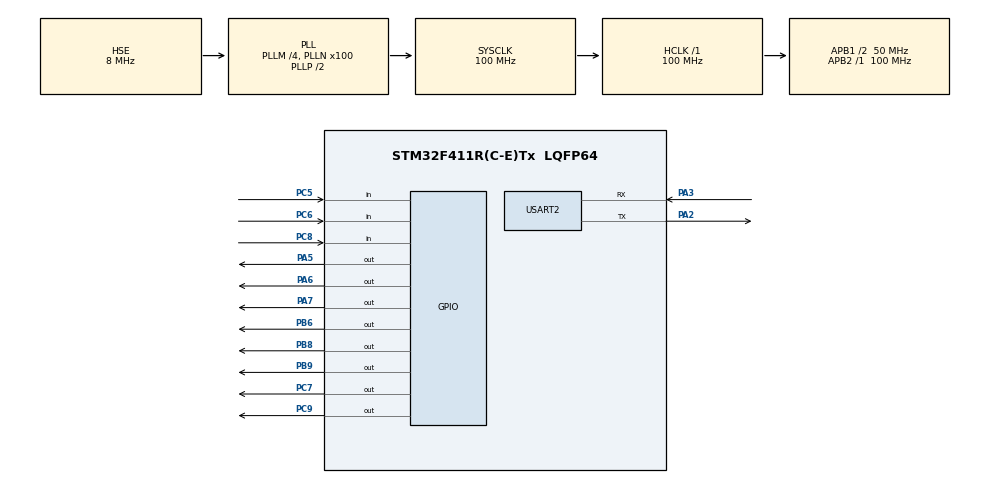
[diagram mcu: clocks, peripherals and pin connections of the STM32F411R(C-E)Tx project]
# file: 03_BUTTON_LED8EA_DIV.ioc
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Mcu.Family=STM32F4
Mcu.Name=STM32F411R(C-E)Tx
Mcu.Package=LQFP64
NVIC.PriorityGroup=NVIC_PRIORITYGROUP_4
NVIC.USART2_IRQn=true\:0\:0\:false\:false\:true\:true\:true\:true
PA13.Mode=Serial_Wire
PA13.Signal=SYS_JTMS-SWDIO
PA14.Mode=Serial_Wire
PA14.Signal=SYS_JTCK-SWCLK
PA2.Mode=Asynchronous
PA2.Signal=USART2_TX
PA3.Mode=Asynchronous
PA3.Signal=USART2_RX
PA5.Signal=GPIO_Output
PA6.Signal=GPIO_Output
PA7.Signal=GPIO_Output
PB6.Signal=GPIO_Output
PB8.Signal=GPIO_Output
PB9.Signal=GPIO_Output
PC5.GPIO_PuPd=GPIO_PULLUP
PC5.Signal=GPIO_Input
PC6.GPIO_PuPd=GPIO_PULLUP
PC6.Signal=GPIO_Input
PC7.Signal=GPIO_Output
PC8.GPIO_PuPd=GPIO_PULLUP
PC8.Signal=GPIO_Input
PC9.Signal=GPIO_Output
PH0\ -\ OSC_IN.Mode=HSE-External-Oscillator
PH0\ -\ OSC_IN.Signal=RCC_OSC_IN
PH1\ -\ OSC_OUT.Mode=HSE-External-Oscillator
PH1\ -\ OSC_OUT.Signal=RCC_OSC_OUT
ProjectManager.HeapSize=0x200
ProjectManager.StackSize=0x400
ProjectManager.TargetToolchain=STM32CubeIDE
RCC.48MHZClocksFreq_Value=50000000
RCC.AHBFreq_Value=100000000
RCC.APB1CLKDivider=RCC_HCLK_DIV2
RCC.APB1Freq_Value=50000000
RCC.APB1TimFreq_Value=100000000
RCC.APB2Freq_Value=100000000
RCC.APB2TimFreq_Value=100000000
RCC.CortexFreq_Value=100000000
RCC.HCLKFreq_Value=100000000
RCC.HSE_VALUE=8000000
RCC.HSI_VALUE=16000000
RCC.LSE_VALUE=32768
RCC.PLLM=4
RCC.PLLN=100
RCC.PLLSourceVirtual=RCC_PLLSOURCE_HSE
RCC.SYSCLKFreq_VALUE=100000000
RCC.SYSCLKSource=RCC_SYSCLKSOURCE_PLLCLK
RCC.VCOOutputFreq_Value=200000000
USART2.VirtualMode=VM_ASYNC
board=custom

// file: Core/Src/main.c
/* USER CODE BEGIN Header */
/**
  ******************************************************************************
  * @file           : main.c
  * @brief          : Main program body
  ******************************************************************************
  * @attention
  *
  * Copyright (c) 2025 STMicroelectronics.
  * All rights reserved.
  *
  * This software is licensed under terms that can be found in the LICENSE file
  * in the root directory of this software component.
  * If no LICENSE file comes with this software, it is provided AS-IS.
  *
  ******************************************************************************
  */
/* USER CODE END Header */
#include "main.h"
#include "usart.h"
#include "gpio.h"

/* USER CODE BEGIN Includes */
#include "led.h"
#include "button.h"
/* USER CODE END Includes */

void SystemClock_Config(void);

/* USER CODE BEGIN 0 */
uint8_t bt0State = 0;
uint8_t bt1State = 0;
uint8_t bt2State = 0;

uint8_t txFlag = 0;
uint8_t txData_LOn[] = "LED On\n";
uint8_t txData_LOff[] = "LED Off\n";
uint8_t txData_LLeft[] = "LED Left Shift\n";
uint8_t txData_LRight[] = "LED Right Shift\n";
uint8_t txData_LFlower[] = "LED Flower\n";
/* USER CODE END 0 */

int main(void)
{

  /* MCU Configuration--------------------------------------------------------*/

  /* Reset of all peripherals, Initializes the Flash interface and the Systick. */
  HAL_Init();

  /* Configure the system clock */
  SystemClock_Config();

  /* Initialize all configured peripherals */
  MX_GPIO_Init();
  MX_USART2_UART_Init();

  /* Infinite loop */
  /* USER CODE BEGIN WHILE */
  while (1)
  {
	  if (buttonGetPressed(0)) {
		  ledOn(8);
		  bt0State = 1;
		  bt1State = 0;
		  bt2State = 0;
		  txFlag = 1;
		  HAL_Delay(1);
	  }

	  if (buttonGetPressed(1)) {
		  ledOff(8);
		  bt0State = 0;
		  bt1State = 1;
		  bt2State = 0;
		  txFlag = 1;
		  HAL_Delay(1);
	  }

	  if (buttonGetPressed(2)) {
		  bt0State = 0;
		  bt1State = 0;
		  bt2State = 1;
		  txFlag = 1;
		  HAL_Delay(1);
	  }

	  if (bt0State == 1) {
		  ledOn(8);
		  bt0State = 0;
		  if (txFlag == 1) {
			  HAL_UART_Transmit(&huart2, txData_LOn, sizeof(txData_LOn), 100);
			  txFlag = 0;
		  }
	  }
	  else if (bt1State == 1) {
		  ledOff(8);
		  bt1State = 0;
		  if (txFlag == 1) {
  			  HAL_UART_Transmit(&huart2, txData_LOff, sizeof(txData_LOff), 100);
  			  txFlag = 0;
  		  }
	  }
	  else if (bt2State == 1) {
		  ledOff(8);
		  ledLeftShift(8, 0);
		  if (txFlag == 1) {
  			  HAL_UART_Transmit(&huart2, txData_LLeft, sizeof(txData_LLeft), 100);
  			  txFlag = 0;
  		  }
	  }

	  HAL_Delay(200);
    /* USER CODE END WHILE */

  }
}

void SystemClock_Config(void)
{
  RCC_OscInitTypeDef RCC_OscInitStruct = {0};
  RCC_ClkInitTypeDef RCC_ClkInitStruct = {0};

  /** Configure the main internal regulator output voltage
  */
  __HAL_RCC_PWR_CLK_ENABLE();
  __HAL_PWR_VOLTAGESCALING_CONFIG(PWR_REGULATOR_VOLTAGE_SCALE1);

  /** Initializes the RCC Oscillators according to the specified parameters
  * in the RCC_OscInitTypeDef structure.
  */
  RCC_OscInitStruct.OscillatorType = RCC_OSCILLATORTYPE_HSE;
  RCC_OscInitStruct.HSEState = RCC_HSE_ON;
  RCC_OscInitStruct.PLL.PLLState = RCC_PLL_ON;
  RCC_OscInitStruct.PLL.PLLSource = RCC_PLLSOURCE_HSE;
  RCC_OscInitStruct.PLL.PLLM = 4;
  RCC_OscInitStruct.PLL.PLLN = 100;
  RCC_OscInitStruct.PLL.PLLP = RCC_PLLP_DIV2;
  RCC_OscInitStruct.PLL.PLLQ = 4;
  if (HAL_RCC_OscConfig(&RCC_OscInitStruct) != HAL_OK)
  {
    Error_Handler();
  }

  /** Initializes the CPU, AHB and APB buses clocks
  */
  RCC_ClkInitStruct.ClockType = RCC_CLOCKTYPE_HCLK|RCC_CLOCKTYPE_SYSCLK
                              |RCC_CLOCKTYPE_PCLK1|RCC_CLOCKTYPE_PCLK2;
  RCC_ClkInitStruct.SYSCLKSource = RCC_SYSCLKSOURCE_PLLCLK;
  RCC_ClkInitStruct.AHBCLKDivider = RCC_SYSCLK_DIV1;
  RCC_ClkInitStruct.APB1CLKDivider = RCC_HCLK_DIV2;
  RCC_ClkInitStruct.APB2CLKDivider = RCC_HCLK_DIV1;

  if (HAL_RCC_ClockConfig(&RCC_ClkInitStruct, FLASH_LATENCY_3) != HAL_OK)
  {
    Error_Handler();
  }
}

void Error_Handler(void)
{
  __disable_irq();
  while (1)
  {
  }
}
